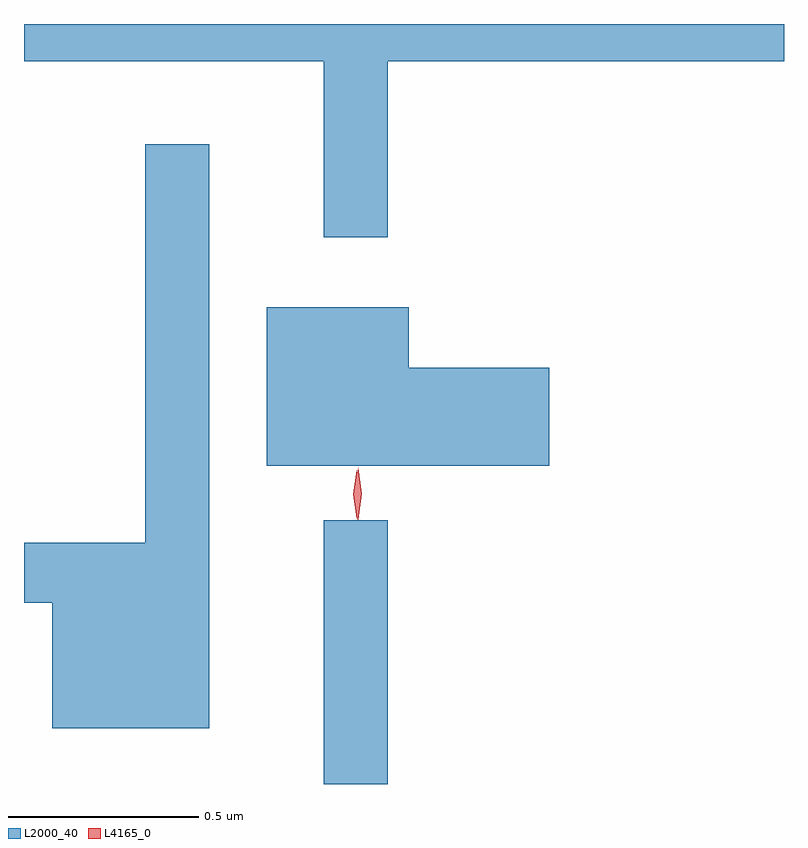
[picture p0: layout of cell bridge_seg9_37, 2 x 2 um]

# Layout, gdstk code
import gdstk
lib = gdstk.Library(unit=1e-6, precision=1e-09)
def R(c, l, rs):  # rectangles x0, y0, x1, y1
    for r in rs: c.add(gdstk.rectangle(r[:2], r[2:], *l))
def P(c, l, *ps):  # polygons
    for p in ps: c.add(gdstk.Polygon(p, *l))
L2000_40 = (2000, 40)
L4165_0 = (4165, 0)

bridge_seg9_37 = lib.new_cell('bridge_seg9_37')
R(bridge_seg9_37, L2000_40, [(1629.781,2069.834,1629.949,2070.528)])
P(bridge_seg9_37, L2000_40, [(1629.949,2071.736),(1630.992,2071.736),(1630.992,2071.834),(1628.992,2071.834),(1628.992,2071.736),(1629.781,2071.736),(1629.781,2071.273),(1629.949,2071.273)],
  [(1629.479,2071.518),(1629.311,2071.518),(1629.311,2070.469),(1628.992,2070.469),(1628.992,2070.311),(1629.066,2070.311),(1629.066,2069.981),(1629.479,2069.981)],
  [(1630.374,2070.929),(1630.004,2070.929),(1630.004,2071.089),(1629.631,2071.089),(1629.631,2070.671),(1630.374,2070.671)])
P(bridge_seg9_37, L4165_0, [(1629.867,2070.533),(1629.858,2070.596),(1629.867,2070.66),(1629.868,2070.66),(1629.868,2070.66),(1629.878,2070.596),(1629.868,2070.533),(1629.868,2070.533)],
  [(1629.87,2070.53),(1629.87,2070.53),(1629.861,2070.598),(1629.871,2070.665),(1629.872,2070.666),(1629.872,2070.665),(1629.881,2070.598),(1629.871,2070.53)])

lib.write_gds('bridge_seg9_37.gds')
